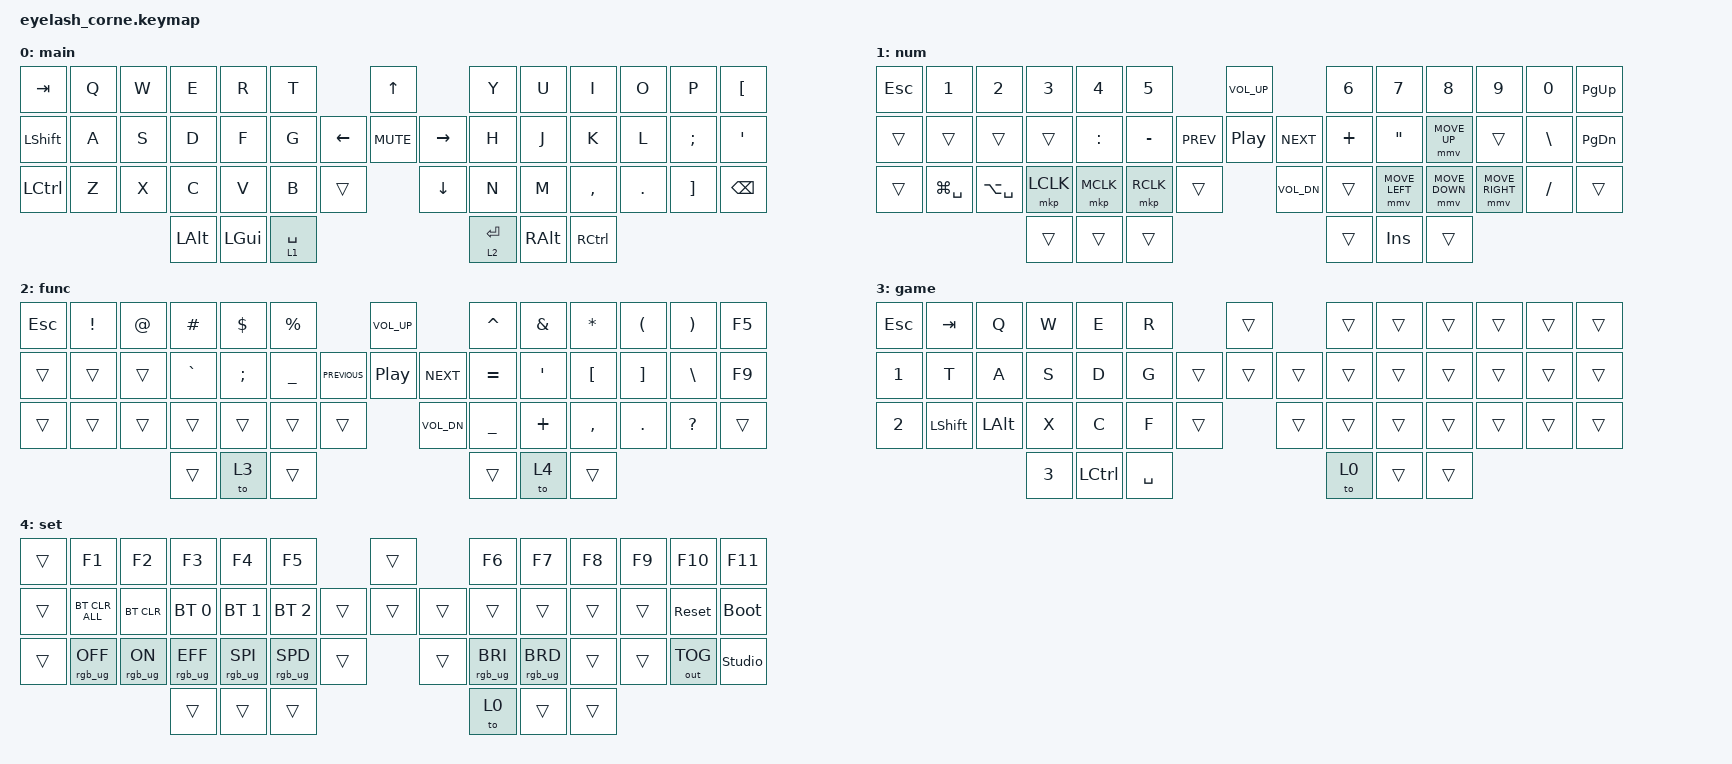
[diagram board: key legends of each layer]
#include <dt-bindings/zmk/mouse.h>
#include <input/processors.dtsi>
#include <behaviors.dtsi>
#include <dt-bindings/zmk/bt.h>
#include <dt-bindings/zmk/keys.h>
#include <dt-bindings/zmk/outputs.h>
#include <dt-bindings/zmk/pointing.h>
#include <dt-bindings/zmk/rgb.h>

/*

   &mmv_input_listener {
       input-processors = <&zip_xy_scaler 2 1>;
   };

   &msc_input_listener {
       input-processors = <&zip_xy_scaler 2 1>;
   };

 */

#define ZMK_MOUSE_DEFAULT_MOVE_VAL 1200  // 600
#define ZMK_MOUSE_DEFAULT_SCRL_VAL 20    // 10

/ {
    behaviors {
        td0: td0 {
            compatible = "zmk,behavior-tap-dance";
            display-name = "Shift/Caps Lock Tap Dance";
            #binding-cells = <0>;
            bindings = <&kp LEFT_SHIFT>, <&kp CAPS>;
        };
    };

    rgb_encoder: rgb_encoder {
        compatible = "zmk,behavior-sensor-rotate";
        #sensor-binding-cells = <0>;
        bindings = <&rgb_ug RGB_BRI>, <&rgb_ug RGB_BRD>;
    };

    scroll_encoder: scroll_encoder {
        compatible = "zmk,behavior-sensor-rotate";
        #sensor-binding-cells = <0>;
        bindings = <&msc SCRL_DOWN>, <&msc SCRL_UP>;

        tap-ms = <30>;
    };

    macros {
        m1: m1 {
            compatible = "zmk,behavior-macro";
            #binding-cells = <0>;
            bindings = <&kp U &kp P &kp D &kp A &kp T &kp N3 &kp P &kp A &kp G &kp LS(E)>;
            label = "M1";
        };

        m2: m2 {
            compatible = "zmk,behavior-macro";
            #binding-cells = <0>;
            bindings = <&none &kp N2 &kp C &kp N7 &kp U &kp N3 &kp Z &kp C &kp U &kp K &kp A &kp Z &kp LS(S)>;
            label = "M2";
        };

        m3: m3 {
            compatible = "zmk,behavior-macro";
            #binding-cells = <0>;
            bindings = <&none &kp LS(Y) &kp LS(H) &kp C &kp LS(C) &kp DOT &kp LS(M) &kp FSLH &kp LPAR &kp X &kp LS(O) &kp A &kp LS(K) &kp Z &kp B &kp AMPS &kp LS(A) &kp EQUAL &kp Y &kp N5 &kp FSLH>;
            label = "M3";
        };
    };

    keymap {
        compatible = "zmk,keymap";

        default_layer {
            display-name = "main";
            bindings = <
&kp TAB         &kp Q  &kp W  &kp E         &kp R     &kp T                            &kp UP                 &kp Y        &kp U          &kp I              &kp O    &kp P          &kp LBKT
&kp LEFT_SHIFT  &kp A  &kp S  &kp D         &kp F     &kp G                  &kp LEFT  &kp C_MUTE  &kp RIGHT  &kp H        &kp J          &kp K              &kp L    &kp SEMICOLON  &kp SQT
&kp LCTRL       &kp Z  &kp X  &kp C         &kp V     &kp B        &trans              &kp DOWN               &kp N        &kp M          &kp COMMA          &kp DOT  &kp RBKT       &kp BSPC
                              &kp LEFT_ALT  &kp LGUI  &lt 1 SPACE                                             &lt 2 ENTER  &kp RIGHT_ALT  &kp RIGHT_CONTROL
            >;
        };

        num_layer {
            display-name = "num";
            bindings = <
&kp ESCAPE  &kp NUMBER_1   &kp N2         &kp N3     &kp N4     &kp N5                           &kp C_VOL_UP                  &kp N6    &kp N7             &kp N8          &kp N9           &kp N0         &kp PG_UP
&trans      &trans         &trans         &trans     &kp COLON  &kp MINUS            &kp C_PREV  &kp C_PLAY_PAUSE  &kp C_NEXT  &kp PLUS  &kp DOUBLE_QUOTES  &mmv MOVE_UP    &trans           &kp BACKSLASH  &kp PG_DN
&trans      &kp LG(SPACE)  &kp LA(SPACE)  &mkp LCLK  &mkp MCLK  &mkp RCLK  &trans                &kp C_VOL_DN                  &trans    &mmv MOVE_LEFT     &mmv MOVE_DOWN  &mmv MOVE_RIGHT  &kp SLASH      &trans
                                          &trans     &trans     &trans                                                         &trans    &kp INS            &trans
            >;
        };

        func_layer {
            display-name = "func";
            bindings = <
&kp ESCAPE  &kp EXCLAMATION  &kp AT_SIGN  &kp POUND  &kp DOLLAR  &kp PERCENT                               &kp C_VOL_UP              &kp CARET  &kp AMPERSAND  &kp ASTERISK  &kp LEFT_PARENTHESIS  &kp RIGHT_PARENTHESIS  &kp F5
&trans      &trans           &trans       &kp GRAVE  &kp SEMI    &kp UNDERSCORE            &kp C_PREVIOUS  &kp C_PP      &kp C_NEXT  &kp EQUAL  &kp APOS       &kp LBKT      &kp RBKT              &kp BSLH               &kp F9
&trans      &trans           &trans       &trans     &trans      &trans          &trans                    &kp C_VOL_DN              &kp UNDER  &kp PLUS       &kp COMMA     &kp PERIOD            &kp QUESTION           &trans
                                          &trans     &to 3       &trans                                                              &trans     &to 4          &trans
            >;
        };

        gaming_layer {
            bindings = <
&kp ESC  &kp TAB         &kp Q         &kp W   &kp E      &kp R                        &trans          &trans  &trans  &trans  &trans  &trans  &trans
&kp N1   &kp T           &kp A         &kp S   &kp D      &kp G                &trans  &trans  &trans  &trans  &trans  &trans  &trans  &trans  &trans
&kp N2   &kp LEFT_SHIFT  &kp LEFT_ALT  &kp X   &kp C      &kp F      &trans            &trans          &trans  &trans  &trans  &trans  &trans  &trans
                                       &kp N3  &kp LCTRL  &kp SPACE                                    &to 0   &trans  &trans
            >;

            label = "game";
        };

        settings_layer {
            bindings = <
&trans  &kp F1           &kp F2          &kp F3           &kp F4           &kp F5                             &trans          &kp F6           &kp F7           &kp F8  &kp F9  &kp F10       &kp F11
&trans  &bt BT_CLR_ALL   &bt BT_CLR      &bt BT_SEL 0     &bt BT_SEL 1     &bt BT_SEL 2               &trans  &trans  &trans  &trans           &trans           &trans  &trans  &sys_reset    &bootloader
&trans  &rgb_ug RGB_OFF  &rgb_ug RGB_ON  &rgb_ug RGB_EFF  &rgb_ug RGB_SPI  &rgb_ug RGB_SPD  &trans            &trans          &rgb_ug RGB_BRI  &rgb_ug RGB_BRD  &trans  &trans  &out OUT_TOG  &studio_unlock
                                         &trans           &trans           &trans                                             &to 0            &trans           &trans
            >;

            label = "set";
        };
    };
};
